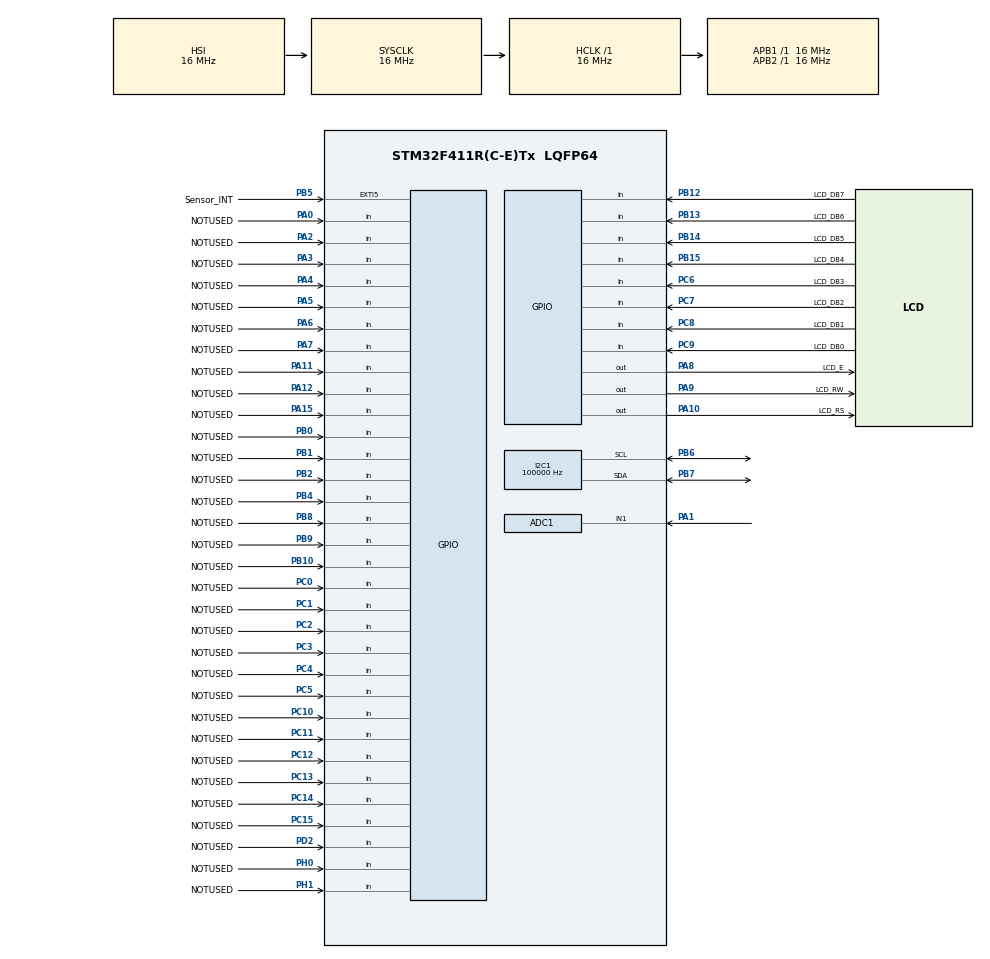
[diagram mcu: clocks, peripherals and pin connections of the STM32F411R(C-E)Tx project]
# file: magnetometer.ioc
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ADC1.Channel-2\#ChannelRegularConversion=ADC_CHANNEL_1
ADC1.ClockPrescaler=ADC_CLOCK_SYNC_PCLK_DIV2
ADC1.NbrOfConversionFlag=1
ADC1.Rank-2\#ChannelRegularConversion=1
ADC1.SamplingTime-2\#ChannelRegularConversion=ADC_SAMPLETIME_15CYCLES
ADC1.master=1
I2C1.ClockSpeed=100000
Mcu.Family=STM32F4
Mcu.Name=STM32F411R(C-E)Tx
Mcu.Package=LQFP64
NVIC.PriorityGroup=NVIC_PRIORITYGROUP_4
NVIC.RTC_WKUP_IRQn=true\:0\:0\:false\:false\:true\:true\:true\:true
PA0-WKUP.GPIO_Label=NOTUSED
PA0-WKUP.GPIO_PuPd=GPIO_PULLDOWN
PA0-WKUP.Signal=GPIO_Input
PA1.Signal=ADCx_IN1
PA10.GPIO_Label=LCD_RS
PA10.GPIO_ModeDefaultOutputPP=GPIO_MODE_OUTPUT_PP
PA10.GPIO_PuPd=GPIO_NOPULL
PA10.PinState=GPIO_PIN_SET
PA10.Signal=GPIO_Output
PA11.GPIO_Label=NOTUSED
PA11.GPIO_PuPd=GPIO_PULLDOWN
PA11.Signal=GPIO_Input
PA12.GPIO_Label=NOTUSED
PA12.GPIO_PuPd=GPIO_PULLDOWN
PA12.Signal=GPIO_Input
PA13.Mode=Trace_Asynchronous_SW
PA13.Signal=SYS_JTMS-SWDIO
PA14.Mode=Trace_Asynchronous_SW
PA14.Signal=SYS_JTCK-SWCLK
PA15.GPIO_Label=NOTUSED
PA15.GPIO_PuPd=GPIO_PULLDOWN
PA15.Signal=GPIO_Input
PA2.GPIO_Label=NOTUSED
PA2.GPIO_PuPd=GPIO_PULLDOWN
PA2.Signal=GPIO_Input
PA3.GPIO_Label=NOTUSED
PA3.GPIO_PuPd=GPIO_PULLDOWN
PA3.Signal=GPIO_Input
PA4.GPIO_Label=NOTUSED
PA4.GPIO_PuPd=GPIO_PULLDOWN
PA4.Signal=GPIO_Input
PA5.GPIO_Label=NOTUSED
PA5.GPIO_PuPd=GPIO_PULLDOWN
PA5.Signal=GPIO_Input
PA6.GPIO_Label=NOTUSED
PA6.GPIO_PuPd=GPIO_PULLDOWN
PA6.Signal=GPIO_Input
PA7.GPIO_Label=NOTUSED
PA7.GPIO_PuPd=GPIO_PULLDOWN
PA7.Signal=GPIO_Input
PA8.GPIO_Label=LCD_E
PA8.GPIO_ModeDefaultOutputPP=GPIO_MODE_OUTPUT_PP
PA8.GPIO_PuPd=GPIO_NOPULL
PA8.PinState=GPIO_PIN_SET
PA8.Signal=GPIO_Output
PA9.GPIO_Label=LCD_RW
PA9.GPIO_ModeDefaultOutputPP=GPIO_MODE_OUTPUT_PP
PA9.GPIO_PuPd=GPIO_NOPULL
PA9.PinState=GPIO_PIN_SET
PA9.Signal=GPIO_Output
PB0.GPIO_Label=NOTUSED
PB0.GPIO_PuPd=GPIO_PULLDOWN
PB0.Signal=GPIO_Input
PB1.GPIO_Label=NOTUSED
PB1.GPIO_PuPd=GPIO_PULLDOWN
PB1.Signal=GPIO_Input
PB10.GPIO_Label=NOTUSED
PB10.GPIO_PuPd=GPIO_PULLDOWN
PB10.Signal=GPIO_Input
PB12.GPIO_Label=LCD_DB7
PB12.GPIO_PuPd=GPIO_NOPULL
PB12.PinState=GPIO_PIN_SET
PB12.Signal=SharedStack_PB12
PB12.Stacked=true
PB13.GPIO_Label=LCD_DB6
PB13.GPIO_PuPd=GPIO_NOPULL
PB13.PinState=GPIO_PIN_SET
PB13.Signal=SharedStack_PB13
PB13.Stacked=true
PB14.GPIO_Label=LCD_DB5
PB14.GPIO_PuPd=GPIO_NOPULL
PB14.PinState=GPIO_PIN_SET
PB14.Signal=SharedStack_PB14
PB14.Stacked=true
PB15.GPIO_Label=LCD_DB4
PB15.GPIO_PuPd=GPIO_NOPULL
PB15.PinState=GPIO_PIN_SET
PB15.Signal=SharedStack_PB15
PB15.Stacked=true
PB2.GPIO_Label=NOTUSED
PB2.GPIO_PuPd=GPIO_PULLDOWN
PB2.Signal=GPIO_Input
PB3.Mode=Trace_Asynchronous_SW
PB3.Signal=SYS_JTDO-SWO
PB4.GPIO_Label=NOTUSED
PB4.GPIO_PuPd=GPIO_PULLDOWN
PB4.Signal=GPIO_Input
PB5.GPIO_Label=Sensor_INT
PB5.GPIO_ModeDefaultEXTI=GPIO_MODE_IT_FALLING
PB5.GPIO_PuPd=GPIO_NOPULL
PB5.Signal=GPXTI5
PB6.GPIO_Pu=GPIO_NOPULL
PB6.Mode=I2C
PB6.Signal=I2C1_SCL
PB7.GPIO_Pu=GPIO_NOPULL
PB7.Mode=I2C
PB7.Signal=I2C1_SDA
PB8.GPIO_Label=NOTUSED
PB8.GPIO_PuPd=GPIO_PULLDOWN
PB8.Signal=GPIO_Input
PB9.GPIO_Label=NOTUSED
PB9.GPIO_PuPd=GPIO_PULLDOWN
PB9.Signal=GPIO_Input
PC0.GPIO_Label=NOTUSED
PC0.GPIO_PuPd=GPIO_PULLDOWN
PC0.Signal=GPIO_Input
PC1.GPIO_Label=NOTUSED
PC1.GPIO_PuPd=GPIO_PULLDOWN
PC1.Signal=GPIO_Input
PC10.GPIO_Label=NOTUSED
PC10.GPIO_PuPd=GPIO_PULLDOWN
PC10.Signal=GPIO_Input
PC11.GPIO_Label=NOTUSED
PC11.GPIO_PuPd=GPIO_PULLDOWN
PC11.Signal=GPIO_Input
PC12.GPIO_Label=NOTUSED
PC12.GPIO_PuPd=GPIO_PULLDOWN
PC12.Signal=GPIO_Input
PC13-ANTI_TAMP.GPIO_Label=NOTUSED
PC13-ANTI_TAMP.GPIO_PuPd=GPIO_PULLDOWN
PC13-ANTI_TAMP.Signal=GPIO_Input
PC14-OSC32_IN.GPIO_Label=NOTUSED
PC14-OSC32_IN.GPIO_PuPd=GPIO_PULLDOWN
PC14-OSC32_IN.Signal=GPIO_Input
PC15-OSC32_OUT.GPIO_Label=NOTUSED
PC15-OSC32_OUT.GPIO_PuPd=GPIO_PULLDOWN
PC15-OSC32_OUT.Signal=GPIO_Input
PC2.GPIO_Label=NOTUSED
PC2.GPIO_PuPd=GPIO_PULLDOWN
PC2.Signal=GPIO_Input
PC3.GPIO_Label=NOTUSED
PC3.GPIO_PuPd=GPIO_PULLDOWN
PC3.Signal=GPIO_Input
PC4.GPIO_Label=NOTUSED
PC4.GPIO_PuPd=GPIO_PULLDOWN
PC4.Signal=GPIO_Input
PC5.GPIO_Label=NOTUSED
PC5.GPIO_PuPd=GPIO_PULLDOWN
PC5.Signal=GPIO_Input
PC6.GPIO_Label=LCD_DB3
PC6.GPIO_PuPd=GPIO_NOPULL
PC6.PinState=GPIO_PIN_SET
PC6.Signal=SharedStack_PC6
PC6.Stacked=true
PC7.GPIO_Label=LCD_DB2
PC7.GPIO_PuPd=GPIO_NOPULL
PC7.PinState=GPIO_PIN_SET
PC7.Signal=SharedStack_PC7
PC7.Stacked=true
PC8.GPIO_Label=LCD_DB1
PC8.GPIO_PuPd=GPIO_NOPULL
PC8.PinState=GPIO_PIN_SET
PC8.Signal=SharedStack_PC8
PC8.Stacked=true
PC9.GPIO_Label=LCD_DB0
PC9.GPIO_PuPd=GPIO_NOPULL
PC9.PinState=GPIO_PIN_SET
PC9.Signal=SharedStack_PC9
PC9.Stacked=true
PD2.GPIO_Label=NOTUSED
PD2.GPIO_PuPd=GPIO_PULLDOWN
PD2.Signal=GPIO_Input
PH0\ -\ OSC_IN.GPIO_Label=NOTUSED
PH0\ -\ OSC_IN.GPIO_PuPd=GPIO_PULLDOWN
PH0\ -\ OSC_IN.Signal=GPIO_Input
PH1\ -\ OSC_OUT.GPIO_Label=NOTUSED
PH1\ -\ OSC_OUT.GPIO_PuPd=GPIO_PULLDOWN
PH1\ -\ OSC_OUT.Signal=GPIO_Input
ProjectManager.HeapSize=0x200
ProjectManager.StackSize=0x400
ProjectManager.TargetToolchain=STM32CubeIDE
RCC.48MHZClocksFreq_Value=48000000
RCC.AHBFreq_Value=16000000
RCC.APB1Freq_Value=16000000
RCC.APB1TimFreq_Value=16000000
RCC.APB2Freq_Value=16000000
RCC.APB2TimFreq_Value=16000000
RCC.CortexFreq_Value=16000000
RCC.HCLKFreq_Value=16000000
RCC.HSE_VALUE=8000000
RCC.HSI_VALUE=16000000
RCC.LSE_VALUE=32768
RCC.RCC_RTC_Clock_Source=RCC_RTCCLKSOURCE_LSI
RCC.RCC_RTC_Clock_SourceVirtual=RCC_RTCCLKSOURCE_LSE
RCC.SYSCLKFreq_VALUE=16000000
RCC.VCOOutputFreq_Value=192000000
SH.ADCx_IN1.0=ADC1_IN1,IN1
SH.SharedStack_PB12.0=GPIO_Input+0
SH.SharedStack_PB12.1=GPIO_Output
SH.SharedStack_PB13.0=GPIO_Input+0
SH.SharedStack_PB13.1=GPIO_Output
SH.SharedStack_PB14.0=GPIO_Input+0
SH.SharedStack_PB14.1=GPIO_Output
SH.SharedStack_PB15.0=GPIO_Input+0
SH.SharedStack_PB15.1=GPIO_Output
SH.SharedStack_PC6.0=GPIO_Input+0
SH.SharedStack_PC6.1=GPIO_Output
SH.SharedStack_PC7.0=GPIO_Input+0
SH.SharedStack_PC7.1=GPIO_Output
SH.SharedStack_PC8.0=GPIO_Input+0
SH.SharedStack_PC8.1=GPIO_Output
SH.SharedStack_PC9.0=GPIO_Input+0
SH.SharedStack_PC9.1=GPIO_Output
TIM2.CounterMode=TIM_COUNTERMODE_DOWN
TIM2.Prescaler=15
VP_RTC_VS_RTC_Activate.Mode=RTC_Enabled
VP_RTC_VS_RTC_WakeUp_intern.Mode=WakeUp
VP_TIM2_VS_ClockSourceINT.Mode=Internal
board=custom

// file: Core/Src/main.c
/* USER CODE BEGIN Header */
/**
 ******************************************************************************
 * @file           : main.c
 * @brief          : Main program body
 ******************************************************************************
 * @attention
 *
 * Copyright (c) 2025 STMicroelectronics.
 * All rights reserved.
 *
 * This software is licensed under terms that can be found in the LICENSE file
 * in the root directory of this software component.
 * If no LICENSE file comes with this software, it is provided AS-IS.
 *
 ******************************************************************************
 */
/* USER CODE END Header */
#include "main.h"

/* USER CODE BEGIN Includes */
#include <assert.h>
#include <math.h>
#include <stddef.h>
#include <stdint.h>
#include <stdlib.h>

#include <log.h>

/* USER CODE END Includes */

/* USER CODE BEGIN PTD */
struct tick_aligned_task {
    uint64_t target_tick;
    const uint16_t tick_alignment; /*< 32767 (~32s) Max. */
    HAL_StatusTypeDef (*const task)(void);
    const char *const name;
};

/* USER CODE END PTD */

/* USER CODE BEGIN PD */
#define MAGNETIC_FLUX_OFFSET_X ((int16_t)(151.319))
#define MAGNETIC_FLUX_OFFSET_Y ((int16_t)(304.571))
#define MAGNETIC_FLUX_OFFSET_Z ((int16_t)(-471.442))
/* USER CODE END PD */

ADC_HandleTypeDef hadc1;

I2C_HandleTypeDef hi2c1;

RTC_HandleTypeDef hrtc;

TIM_HandleTypeDef htim2;

/* USER CODE BEGIN PV */
LOG_LEVEL_SET(LOG_LEVEL_INF);

MOD_HandleTypeDef hmod;
LIS2MDL_HandleTypeDef hlis2mdl;
STC3100_HandleTypeDef hstc3100;
UDELAY_HandleTypeDef hmicrowait;
ST7066U_HandleTypeDef hdisplay;

MOD_ModeStateTypedef mode_state = MOD_MODE_STATE_UNKNOWN;

float magnetic_flux_x_mgauss = 0.0f;
float magnetic_flux_y_mgauss = 0.0f;
float magnetic_flux_z_mgauss = 0.0f;
float magnetic_flux_magnitude_mgauss = 0.0f;
float magnetic_flux_bearing_degree = 0.0f;

float gas_gauge_charge_used_uah = 0.0f;
float gas_gauge_voltage_mv = 0.0f;
/* USER CODE END PV */

void SystemClock_Config(void);
static void MX_GPIO_Init(void);
static void MX_ADC1_Init(void);
static void MX_I2C1_Init(void);
static void MX_RTC_Init(void);
static void MX_TIM2_Init(void);
/* USER CODE BEGIN PFP */
static void NotMX_MOD_Init(void);
static void NotMX_LIS2MDL_Init(void);
static void NotMX_STC3100_Init(void);
static void NotMX_UDELAY_Init(void);
static void NotMX_DISPLAY_Init(void);
static HAL_StatusTypeDef Task_ModeUpdate(void);
static HAL_StatusTypeDef Task_MagneticMeasurementUpdate(void);
static HAL_StatusTypeDef Task_SOHUpdate(void);
static HAL_StatusTypeDef Task_DisplayUpdate(void);
/* USER CODE END PFP */

int main(void) {

    /* USER CODE BEGIN 1 */
    HAL_StatusTypeDef status = HAL_OK;
    uint64_t latest_extend_tick = 0U;
    /* USER CODE END 1 */

    /* MCU Configuration--------------------------------------------------------*/

    /* Reset of all peripherals, Initializes the Flash interface and the Systick. */
    HAL_Init();

    /* Configure the system clock */
    SystemClock_Config();

    /* USER CODE BEGIN SysInit */
    HAL_Delay(50);
    /* USER CODE END SysInit */

    /* Initialize all configured peripherals */
    MX_GPIO_Init();
    MX_ADC1_Init();
    MX_I2C1_Init();
    MX_RTC_Init();
    MX_TIM2_Init();
    /* USER CODE BEGIN 2 */
    HAL_Delay(50);

    NotMX_MOD_Init();
    NotMX_LIS2MDL_Init();
    NotMX_STC3100_Init();
    NotMX_UDELAY_Init();
    NotMX_DISPLAY_Init();

    HAL_Delay(50);

    LOG_INF("Magnetometer");
    LOG_INF("H/W Rev.2");
    LOG_INF("F/W Ver.1.3.0");

    HAL_Delay(50);

    struct tick_aligned_task tasks[] = {
        [0] = {.target_tick = 0,
               .tick_alignment = 1000,
               .task = Task_ModeUpdate,
               .name = "ModeUpdate"},
        [1] = {.target_tick = 0,
               .tick_alignment = 200,
               .task = Task_MagneticMeasurementUpdate,
               .name = "MagneticMeasurementUpdate"},
        [2] = {.target_tick = 0,
               .tick_alignment = 1000,
               .task = Task_SOHUpdate,
               .name = "SOHUpdate"},
        [3] = {.target_tick = 0,
               .tick_alignment = 200,
               .task = Task_DisplayUpdate,
               .name = "DisplayUpdate"},
    };
    /* USER CODE END 2 */

    /* Infinite loop */
    /* USER CODE BEGIN WHILE */
    assert(sizeof(tasks) / sizeof(*tasks) > 0);
    for (struct tick_aligned_task *t = &tasks[0];
         t < &tasks[sizeof(tasks) / sizeof(*tasks)];
         ++t) {
        assert(t->target_tick <= UINT32_MAX &&
               t->tick_alignment <= UINT16_MAX / 2);
    }
    while (1) {
        const uint32_t current_tick = HAL_GetTick();
        if ((latest_extend_tick & 0xFFFFFFFFULL) > current_tick) {
            latest_extend_tick += 0x100000000ULL;
        }
        latest_extend_tick &= ~0xFFFFFFFFULL;
        latest_extend_tick += current_tick;

        struct tick_aligned_task *task = NULL;
        for (struct tick_aligned_task *t = &tasks[0];
             t < &tasks[sizeof(tasks) / sizeof(*tasks)];
             ++t) {
            if (t->target_tick <= latest_extend_tick) {
                task = t;
                break;
            }
        }

        if (task != NULL) {
            task->target_tick = latest_extend_tick -
                                (latest_extend_tick % task->tick_alignment) +
                                task->tick_alignment;
            if (task->task != NULL) {
                status = task->task();
                if (status != HAL_OK) {
                    LOG_ERR("task(%s) failed", task->name);
                    task->target_tick = UINT32_MAX;
                }
            }
            continue;
        }

        task = &tasks[0];
        for (struct tick_aligned_task *t = &tasks[0];
             t < &tasks[sizeof(tasks) / sizeof(*tasks)];
             ++t) {
            if (task->target_tick > t->target_tick) {
                task = t;
            }
        }

        assert(task->target_tick - latest_extend_tick <= UINT16_MAX / 2);
        const uint32_t stop_duration =
            (uint16_t)((task->target_tick - latest_extend_tick) * 2);
        HAL_SuspendTick();
        HAL_RTCEx_SetWakeUpTimer_IT(
            &hrtc, stop_duration, RTC_WAKEUPCLOCK_RTCCLK_DIV16);
        HAL_PWR_EnterSTOPMode(PWR_LOWPOWERREGULATOR_ON, PWR_STOPENTRY_WFI);
        HAL_RTCEx_DeactivateWakeUpTimer(&hrtc);
        /* Add elapsed tick while STOP */
        uwTick += (uint32_t)(task->target_tick - latest_extend_tick);
        HAL_ResumeTick();
        /* USER CODE END WHILE */

    }
}

void SystemClock_Config(void) {
    RCC_OscInitTypeDef RCC_OscInitStruct = {0};
    RCC_ClkInitTypeDef RCC_ClkInitStruct = {0};

    /** Configure the main internal regulator output voltage
  */
    __HAL_RCC_PWR_CLK_ENABLE();
    __HAL_PWR_VOLTAGESCALING_CONFIG(PWR_REGULATOR_VOLTAGE_SCALE1);

    /** Initializes the RCC Oscillators according to the specified parameters
  * in the RCC_OscInitTypeDef structure.
  */
    RCC_OscInitStruct.OscillatorType =
        RCC_OSCILLATORTYPE_HSI | RCC_OSCILLATORTYPE_LSI;
    RCC_OscInitStruct.HSIState = RCC_HSI_ON;
    RCC_OscInitStruct.HSICalibrationValue = RCC_HSICALIBRATION_DEFAULT;
    RCC_OscInitStruct.LSIState = RCC_LSI_ON;
    RCC_OscInitStruct.PLL.PLLState = RCC_PLL_NONE;
    if (HAL_RCC_OscConfig(&RCC_OscInitStruct) != HAL_OK) {
        Error_Handler();
    }

    /** Initializes the CPU, AHB and APB buses clocks
  */
    RCC_ClkInitStruct.ClockType = RCC_CLOCKTYPE_HCLK | RCC_CLOCKTYPE_SYSCLK |
                                  RCC_CLOCKTYPE_PCLK1 | RCC_CLOCKTYPE_PCLK2;
    RCC_ClkInitStruct.SYSCLKSource = RCC_SYSCLKSOURCE_HSI;
    RCC_ClkInitStruct.AHBCLKDivider = RCC_SYSCLK_DIV1;
    RCC_ClkInitStruct.APB1CLKDivider = RCC_HCLK_DIV1;
    RCC_ClkInitStruct.APB2CLKDivider = RCC_HCLK_DIV1;

    if (HAL_RCC_ClockConfig(&RCC_ClkInitStruct, FLASH_LATENCY_0) != HAL_OK) {
        Error_Handler();
    }
}

static void MX_ADC1_Init(void) {

    ADC_ChannelConfTypeDef sConfig = {0};

    /** Configure the global features of the ADC (Clock, Resolution, Data Alignment and number of conversion)
  */
    hadc1.Instance = ADC1;
    hadc1.Init.ClockPrescaler = ADC_CLOCK_SYNC_PCLK_DIV2;
    hadc1.Init.Resolution = ADC_RESOLUTION_12B;
    hadc1.Init.ScanConvMode = DISABLE;
    hadc1.Init.ContinuousConvMode = DISABLE;
    hadc1.Init.DiscontinuousConvMode = DISABLE;
    hadc1.Init.ExternalTrigConvEdge = ADC_EXTERNALTRIGCONVEDGE_NONE;
    hadc1.Init.ExternalTrigConv = ADC_SOFTWARE_START;
    hadc1.Init.DataAlign = ADC_DATAALIGN_RIGHT;
    hadc1.Init.NbrOfConversion = 1;
    hadc1.Init.DMAContinuousRequests = DISABLE;
    hadc1.Init.EOCSelection = ADC_EOC_SINGLE_CONV;
    if (HAL_ADC_Init(&hadc1) != HAL_OK) {
        Error_Handler();
    }

    /** Configure for the selected ADC regular channel its corresponding rank in the sequencer and its sample time.
  */
    sConfig.Channel = ADC_CHANNEL_1;
    sConfig.Rank = 1;
    sConfig.SamplingTime = ADC_SAMPLETIME_15CYCLES;
    if (HAL_ADC_ConfigChannel(&hadc1, &sConfig) != HAL_OK) {
        Error_Handler();
    }
}

static void MX_I2C1_Init(void) {

    hi2c1.Instance = I2C1;
    hi2c1.Init.ClockSpeed = 100000;
    hi2c1.Init.DutyCycle = I2C_DUTYCYCLE_2;
    hi2c1.Init.OwnAddress1 = 0;
    hi2c1.Init.AddressingMode = I2C_ADDRESSINGMODE_7BIT;
    hi2c1.Init.DualAddressMode = I2C_DUALADDRESS_DISABLE;
    hi2c1.Init.OwnAddress2 = 0;
    hi2c1.Init.GeneralCallMode = I2C_GENERALCALL_DISABLE;
    hi2c1.Init.NoStretchMode = I2C_NOSTRETCH_DISABLE;
    if (HAL_I2C_Init(&hi2c1) != HAL_OK) {
        Error_Handler();
    }
}

static void MX_RTC_Init(void) {

    RTC_TimeTypeDef sTime = {0};
    RTC_DateTypeDef sDate = {0};

    /** Initialize RTC Only
  */
    hrtc.Instance = RTC;
    hrtc.Init.HourFormat = RTC_HOURFORMAT_24;
    hrtc.Init.AsynchPrediv = 127;
    hrtc.Init.SynchPrediv = 255;
    hrtc.Init.OutPut = RTC_OUTPUT_DISABLE;
    hrtc.Init.OutPutPolarity = RTC_OUTPUT_POLARITY_HIGH;
    hrtc.Init.OutPutType = RTC_OUTPUT_TYPE_OPENDRAIN;
    if (HAL_RTC_Init(&hrtc) != HAL_OK) {
        Error_Handler();
    }

    /** Initialize RTC and set the Time and Date
  */
    sTime.Hours = 0x0;
    sTime.Minutes = 0x0;
    sTime.Seconds = 0x0;
    sTime.DayLightSaving = RTC_DAYLIGHTSAVING_NONE;
    sTime.StoreOperation = RTC_STOREOPERATION_RESET;
    if (HAL_RTC_SetTime(&hrtc, &sTime, RTC_FORMAT_BCD) != HAL_OK) {
        Error_Handler();
    }
    sDate.WeekDay = RTC_WEEKDAY_MONDAY;
    sDate.Month = RTC_MONTH_JANUARY;
    sDate.Date = 0x1;
    sDate.Year = 0x0;

    if (HAL_RTC_SetDate(&hrtc, &sDate, RTC_FORMAT_BCD) != HAL_OK) {
        Error_Handler();
    }

    /** Enable the WakeUp
  */
    if (HAL_RTCEx_SetWakeUpTimer_IT(&hrtc, 0, RTC_WAKEUPCLOCK_RTCCLK_DIV16) !=
        HAL_OK) {
        Error_Handler();
    }
    /* USER CODE BEGIN RTC_Init 2 */
    if (HAL_RTCEx_DeactivateWakeUpTimer(&hrtc) != HAL_OK) {
        Error_Handler();
    }
    /* USER CODE END RTC_Init 2 */
}

static void MX_TIM2_Init(void) {

    TIM_ClockConfigTypeDef sClockSourceConfig = {0};
    TIM_MasterConfigTypeDef sMasterConfig = {0};

    htim2.Instance = TIM2;
    htim2.Init.Prescaler = 15;
    htim2.Init.CounterMode = TIM_COUNTERMODE_DOWN;
    htim2.Init.Period = 4294967295;
    htim2.Init.ClockDivision = TIM_CLOCKDIVISION_DIV1;
    htim2.Init.AutoReloadPreload = TIM_AUTORELOAD_PRELOAD_DISABLE;
    if (HAL_TIM_Base_Init(&htim2) != HAL_OK) {
        Error_Handler();
    }
    sClockSourceConfig.ClockSource = TIM_CLOCKSOURCE_INTERNAL;
    if (HAL_TIM_ConfigClockSource(&htim2, &sClockSourceConfig) != HAL_OK) {
        Error_Handler();
    }
    sMasterConfig.MasterOutputTrigger = TIM_TRGO_RESET;
    sMasterConfig.MasterSlaveMode = TIM_MASTERSLAVEMODE_DISABLE;
    if (HAL_TIMEx_MasterConfigSynchronization(&htim2, &sMasterConfig) !=
        HAL_OK) {
        Error_Handler();
    }
}

static void MX_GPIO_Init(void) {
    GPIO_InitTypeDef GPIO_InitStruct = {0};

    /* GPIO Ports Clock Enable */
    __HAL_RCC_GPIOC_CLK_ENABLE();
    __HAL_RCC_GPIOH_CLK_ENABLE();
    __HAL_RCC_GPIOA_CLK_ENABLE();
    __HAL_RCC_GPIOB_CLK_ENABLE();
    __HAL_RCC_GPIOD_CLK_ENABLE();

    /*Configure GPIO pin Output Level */
    HAL_GPIO_WritePin(GPIOA, LCD_E_Pin | LCD_RW_Pin | LCD_RS_Pin, GPIO_PIN_SET);

    /*Configure GPIO pins : NOTUSED_Pin NOTUSEDC14_Pin NOTUSEDC15_Pin NOTUSEDC0_Pin
                           NOTUSEDC1_Pin NOTUSEDC2_Pin NOTUSEDC3_Pin NOTUSEDC4_Pin
                           NOTUSEDC5_Pin NOTUSEDC10_Pin NOTUSEDC11_Pin NOTUSEDC12_Pin */
    GPIO_InitStruct.Pin = NOTUSED_Pin | NOTUSEDC14_Pin | NOTUSEDC15_Pin |
                          NOTUSEDC0_Pin | NOTUSEDC1_Pin | NOTUSEDC2_Pin |
                          NOTUSEDC3_Pin | NOTUSEDC4_Pin | NOTUSEDC5_Pin |
                          NOTUSEDC10_Pin | NOTUSEDC11_Pin | NOTUSEDC12_Pin;
    GPIO_InitStruct.Mode = GPIO_MODE_INPUT;
    GPIO_InitStruct.Pull = GPIO_PULLDOWN;
    HAL_GPIO_Init(GPIOC, &GPIO_InitStruct);

    /*Configure GPIO pins : NOTUSEDH0_Pin NOTUSEDH1_Pin */
    GPIO_InitStruct.Pin = NOTUSEDH0_Pin | NOTUSEDH1_Pin;
    GPIO_InitStruct.Mode = GPIO_MODE_INPUT;
    GPIO_InitStruct.Pull = GPIO_PULLDOWN;
    HAL_GPIO_Init(GPIOH, &GPIO_InitStruct);

    /*Configure GPIO pins : NOTUSEDA0_Pin NOTUSEDA2_Pin NOTUSEDA3_Pin NOTUSEDA4_Pin
                           NOTUSEDA5_Pin NOTUSEDA6_Pin NOTUSEDA7_Pin NOTUSEDA11_Pin
                           NOTUSEDA12_Pin NOTUSEDA15_Pin */
    GPIO_InitStruct.Pin = NOTUSEDA0_Pin | NOTUSEDA2_Pin | NOTUSEDA3_Pin |
                          NOTUSEDA4_Pin | NOTUSEDA5_Pin | NOTUSEDA6_Pin |
                          NOTUSEDA7_Pin | NOTUSEDA11_Pin | NOTUSEDA12_Pin |
                          NOTUSEDA15_Pin;
    GPIO_InitStruct.Mode = GPIO_MODE_INPUT;
    GPIO_InitStruct.Pull = GPIO_PULLDOWN;
    HAL_GPIO_Init(GPIOA, &GPIO_InitStruct);

    /*Configure GPIO pins : NOTUSEDB0_Pin NOTUSEDB1_Pin NOTUSEDB2_Pin NOTUSEDB10_Pin
                           NOTUSEDB4_Pin NOTUSEDB8_Pin NOTUSEDB9_Pin */
    GPIO_InitStruct.Pin = NOTUSEDB0_Pin | NOTUSEDB1_Pin | NOTUSEDB2_Pin |
                          NOTUSEDB10_Pin | NOTUSEDB4_Pin | NOTUSEDB8_Pin |
                          NOTUSEDB9_Pin;
    GPIO_InitStruct.Mode = GPIO_MODE_INPUT;
    GPIO_InitStruct.Pull = GPIO_PULLDOWN;
    HAL_GPIO_Init(GPIOB, &GPIO_InitStruct);

    /*Configure GPIO pins : LCD_E_Pin LCD_RW_Pin LCD_RS_Pin */
    GPIO_InitStruct.Pin = LCD_E_Pin | LCD_RW_Pin | LCD_RS_Pin;
    GPIO_InitStruct.Mode = GPIO_MODE_OUTPUT_PP;
    GPIO_InitStruct.Pull = GPIO_NOPULL;
    GPIO_InitStruct.Speed = GPIO_SPEED_FREQ_LOW;
    HAL_GPIO_Init(GPIOA, &GPIO_InitStruct);

    /*Configure GPIO pin : NOTUSEDD2_Pin */
    GPIO_InitStruct.Pin = NOTUSEDD2_Pin;
    GPIO_InitStruct.Mode = GPIO_MODE_INPUT;
    GPIO_InitStruct.Pull = GPIO_PULLDOWN;
    HAL_GPIO_Init(NOTUSEDD2_GPIO_Port, &GPIO_InitStruct);

    /*Configure GPIO pin : Sensor_INT_Pin */
    GPIO_InitStruct.Pin = Sensor_INT_Pin;
    GPIO_InitStruct.Mode = GPIO_MODE_IT_FALLING;
    GPIO_InitStruct.Pull = GPIO_NOPULL;
    HAL_GPIO_Init(Sensor_INT_GPIO_Port, &GPIO_InitStruct);

    /* USER CODE BEGIN MX_GPIO_Init_2 */
    /*Configure GPIO pins : LCD_DB7_Pin LCD_DB6_Pin LCD_DB5_Pin LCD_DB4_Pin */
    GPIO_InitStruct.Pin = LCD_DB7_Pin | LCD_DB6_Pin | LCD_DB5_Pin | LCD_DB4_Pin;
    GPIO_InitStruct.Mode = GPIO_MODE_INPUT;
    GPIO_InitStruct.Pull = GPIO_PULLUP;
    GPIO_InitStruct.Speed = GPIO_SPEED_FREQ_LOW;
    HAL_GPIO_Init(GPIOB, &GPIO_InitStruct);

    /*Configure GPIO pins : LCD_DB3_Pin LCD_DB2_Pin LCD_DB1_Pin LCD_DB0_Pin */
    GPIO_InitStruct.Pin = LCD_DB3_Pin | LCD_DB2_Pin | LCD_DB1_Pin | LCD_DB0_Pin;
    GPIO_InitStruct.Mode = GPIO_MODE_INPUT;
    GPIO_InitStruct.Pull = GPIO_PULLUP;
    GPIO_InitStruct.Speed = GPIO_SPEED_FREQ_LOW;
    HAL_GPIO_Init(GPIOC, &GPIO_InitStruct);
    /* USER CODE END MX_GPIO_Init_2 */
}

/* USER CODE BEGIN 4 */
static void NotMX_MOD_Init(void) {
    hmod.ADCInstance = &hadc1;

    if (MOD_Init(&hmod) != HAL_OK) {
        Error_Handler();
    }
}

static void NotMX_LIS2MDL_Init(void) {
    hlis2mdl.I2CInstance = &hi2c1;

    if (LIS2MDL_Init(&hlis2mdl) != HAL_OK) {
        LOG_ERR("failed to initialize LIS2MDL");
        Error_Handler();
    }
}

static void NotMX_STC3100_Init(void) {
    hstc3100.I2CInstance = &hi2c1;

    if (STC3100_Init(&hstc3100) != HAL_OK) {
        LOG_ERR("failed to initialize STC3100");
        Error_Handler();
    }
}

static void NotMX_UDELAY_Init(void) {
    hmicrowait.TIMInstance = &htim2;

    if (UDELAY_Init(&hmicrowait) != HAL_OK) {
        LOG_ERR("failed to initialize MICROWAIT");
        Error_Handler();
    }
}

static void NotMX_DISPLAY_Init(void) {
    hdisplay.MICROWAITInstance = &hmicrowait;
    hdisplay.Init.BusMode = ST7066U_BUS_MODE_4;

    hdisplay.Init.RS_Port = LCD_RS_GPIO_Port;
    hdisplay.Init.RS_Pin = LCD_RS_Pin;
    hdisplay.Init.RW_Port = LCD_RW_GPIO_Port;
    hdisplay.Init.RW_Pin = LCD_RW_Pin;
    hdisplay.Init.E_Port = LCD_E_GPIO_Port;
    hdisplay.Init.E_Pin = LCD_E_Pin;

    hdisplay.Init.DB_Port[0] = LCD_DB0_GPIO_Port;
    hdisplay.Init.DB_Pin[0] = LCD_DB0_Pin;
    hdisplay.Init.DB_Port[1] = LCD_DB1_GPIO_Port;
    hdisplay.Init.DB_Pin[1] = LCD_DB1_Pin;
    hdisplay.Init.DB_Port[2] = LCD_DB2_GPIO_Port;
    hdisplay.Init.DB_Pin[2] = LCD_DB2_Pin;
    hdisplay.Init.DB_Port[3] = LCD_DB3_GPIO_Port;
    hdisplay.Init.DB_Pin[3] = LCD_DB3_Pin;
    hdisplay.Init.DB_Port[4] = LCD_DB4_GPIO_Port;
    hdisplay.Init.DB_Pin[4] = LCD_DB4_Pin;
    hdisplay.Init.DB_Port[5] = LCD_DB5_GPIO_Port;
    hdisplay.Init.DB_Pin[5] = LCD_DB5_Pin;
    hdisplay.Init.DB_Port[6] = LCD_DB6_GPIO_Port;
    hdisplay.Init.DB_Pin[6] = LCD_DB6_Pin;
    hdisplay.Init.DB_Port[7] = LCD_DB7_GPIO_Port;
    hdisplay.Init.DB_Pin[7] = LCD_DB7_Pin;

    if (ST7066U_Init(&hdisplay) != HAL_OK) {
        LOG_ERR("failed to initialize DISPLAY");
        Error_Handler();
    }
}

HAL_StatusTypeDef Task_ModeUpdate(void) {
    HAL_StatusTypeDef status = HAL_OK;

    status = MOD_UpdateMode(&hmod);
    if (status != HAL_OK) {
        LOG_ERR("failed to update mode");
        return HAL_ERROR;
    }

    mode_state = MOD_ReadMode(&hmod);

    switch (mode_state) {
    default:
    case MOD_MODE_STATE_UNKNOWN:
        LOG_DBG("Mode [Unknown]");
        return HAL_OK;
    case MOD_MODE_STATE_X:
        LOG_DBG("Mode [X]");
        return HAL_OK;
    case MOD_MODE_STATE_Y:
        LOG_DBG("Mode [Y]");
        return HAL_OK;
    case MOD_MODE_STATE_Z:
        LOG_DBG("Mode [Z]");
        return HAL_OK;
    case MOD_MODE_STATE_MAGNITUDE:
        LOG_DBG("Mode [Magnitude]");
        return HAL_OK;
    case MOD_MODE_STATE_BEARING:
        LOG_DBG("Mode [Bearing]");
        return HAL_OK;
    case MOD_MODE_STATE_SOH:
        LOG_DBG("Mode [SOH]");
        return HAL_OK;
    }
}

HAL_StatusTypeDef Task_MagneticMeasurementUpdate(void) {
    HAL_StatusTypeDef status = HAL_OK;

    status = LIS2MDL_CheckSanity(&hlis2mdl);
    if (status != HAL_OK) {
        return HAL_ERROR;
    }

    status = LIS2MDL_StartSingleMode(&hlis2mdl);
    if (status != HAL_OK) {
        return HAL_ERROR;
    }

    uint16_t x_code = 0U;
    uint16_t y_code = 0U;
    uint16_t z_code = 0U;

    status = LIS2MDL_OUTXYZ(&hlis2mdl, &x_code, &y_code, &z_code);
    if (status != HAL_OK) {
        return HAL_ERROR;
    }

    const float x_mgauss =
        (float)((int16_t)x_code - MAGNETIC_FLUX_OFFSET_X) * 1.5f;
    const float y_mgauss =
        (float)((int16_t)y_code - MAGNETIC_FLUX_OFFSET_Y) * 1.5f;
    const float z_mgauss =
        (float)((int16_t)z_code - MAGNETIC_FLUX_OFFSET_Z) * 1.5f;

    float magnitude_mgauss = 0.0f;
    {
        float acc = 0.0f;

        acc += x_mgauss * x_mgauss;
        acc += y_mgauss * y_mgauss;
        acc += z_mgauss * z_mgauss;

        magnitude_mgauss = sqrtf(acc);
    }

    float bearing_degree = 0.0f;
    {
        float theta = 0.0f;

        if (isless(fabsf(x_mgauss), 0.001f) &&
            isless(fabsf(y_mgauss), 0.001f)) {
            theta = 0.0f;
        } else if (isless(fabsf(x_mgauss), 0.001f) && signbit(y_mgauss)) {
            theta = (float)M_PI_2 * 3.0f;
        } else if (isless(fabsf(x_mgauss), 0.001f) && !signbit(y_mgauss)) {
            theta = (float)M_PI_2 * 1.0f;
        } else {
            theta =
                atanf(y_mgauss / -x_mgauss) +
                (!signbit(x_mgauss) * (float)M_PI) +
                ((signbit(x_mgauss) && signbit(y_mgauss)) * 2.0f * (float)M_PI);
        }

        bearing_degree = theta * 180.0f / (float)M_PI;
    };

    magnetic_flux_x_mgauss = x_mgauss;
    magnetic_flux_y_mgauss = y_mgauss;
    magnetic_flux_z_mgauss = z_mgauss;
    magnetic_flux_magnitude_mgauss = magnitude_mgauss;
    magnetic_flux_bearing_degree = bearing_degree;

    return HAL_OK;
}

static HAL_StatusTypeDef Task_SOHUpdate(void) {
    HAL_StatusTypeDef status = HAL_OK;

    status = STC3100_CheckSanity(&hstc3100);
    if (status != HAL_OK) {
        return HAL_ERROR;
    }

    gas_gauge_charge_used_uah = STC3100_ChargeUsed_uAh(&hstc3100);

    LOG_DBG("Charge Used: %d uAh", (int)gas_gauge_charge_used_uah);

    return HAL_OK;
}

static HAL_StatusTypeDef Task_DisplayUpdate(void) {
    assert(abs((int)magnetic_flux_x_mgauss) <= 99999);
    assert(abs((int)magnetic_flux_y_mgauss) <= 99999);
    assert(abs((int)magnetic_flux_z_mgauss) <= 99999);
    assert(abs((int)magnetic_flux_magnitude_mgauss) <= 99999);

    if (ST7066U_CheckSanity(&hdisplay) != HAL_OK) {
        return HAL_ERROR;
    }

    switch (mode_state) {
    default:
    case MOD_MODE_STATE_UNKNOWN:
        return ST7066U_Print(&hdisplay, "%s", "Unknown");
    case MOD_MODE_STATE_X:
        return ST7066U_Print(&hdisplay, "X %6d", (int)magnetic_flux_x_mgauss);
    case MOD_MODE_STATE_Y:
        return ST7066U_Print(&hdisplay, "Y %6d", (int)magnetic_flux_y_mgauss);
    case MOD_MODE_STATE_Z:
        return ST7066U_Print(&hdisplay, "Z %6d", (int)magnetic_flux_z_mgauss);
    case MOD_MODE_STATE_MAGNITUDE:
        return ST7066U_Print(
            &hdisplay, "M %6d", (int)magnetic_flux_magnitude_mgauss);
    case MOD_MODE_STATE_BEARING:
        return ST7066U_Print(
            &hdisplay, "B %6d", (int)magnetic_flux_bearing_degree);
    case MOD_MODE_STATE_SOH:
        if (gas_gauge_charge_used_uah < 1000.0f) {
            return ST7066U_Print(
                &hdisplay, "S %5du", (int)gas_gauge_charge_used_uah);
        } else {
            return ST7066U_Print(&hdisplay,
                                 "S %5dm",
                                 (int)(gas_gauge_charge_used_uah / 1000.0f));
        }
    }
}
/* USER CODE END 4 */

void Error_Handler(void) {
    /* USER CODE BEGIN Error_Handler_Debug */
    LOG_ERR("critical error on initialize peripherals");
    __disable_irq();
    while (1) {
        HAL_PWR_EnterSTANDBYMode();
    }
    /* USER CODE END Error_Handler_Debug */
}
